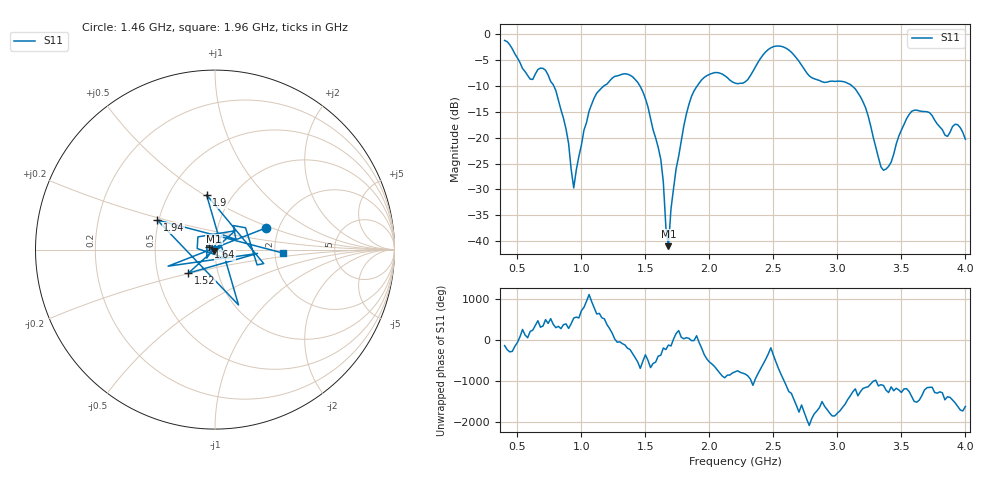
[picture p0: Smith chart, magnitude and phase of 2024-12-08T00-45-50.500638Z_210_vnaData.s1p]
!Created with skrf (http://scikit-rf.org).
# Hz S RI R 50.0
!freq ReS11 ImS11
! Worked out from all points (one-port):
!   181 points, 400 MHz to 4 GHz, reference 50 ohm
!   lowest |S11| = -41.0 dB at 1.68 GHz (marker M1), VSWR 1.02, Z = 49.4 - j0.701 ohm
!   |S11| at or under -10 dB: 783.7 MHz to 1.177 GHz (393.8 MHz wide, 40.2 % of centre); 1.457 GHz to 1.906 GHz (449.2 MHz wide, 26.7 % of centre); 3.113 GHz to end of sweep
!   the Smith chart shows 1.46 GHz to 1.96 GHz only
!   S11 on the Smith chart (normalised r, x): 1.46 GHz: 1.72, +0.46; 1.52 GHz: 0.72, -0.20; 1.64 GHz: 0.93, +0.02; 1.9 GHz: 0.76, +0.51; 1.94 GHz: 0.49, +0.19; 1.96 GHz: 2.23, -0.10
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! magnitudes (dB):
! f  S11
! 400 MHz  -1.3
! 600 MHz  -8.7
! 720 MHz  -7.0
! 860 MHz  -16.3
! 940 MHz  -29.7
! 1.02 GHz  -18.6
! 1.1 GHz  -12.3
! 1.3 GHz  -7.9
! 1.46 GHz  -10.1
! 1.52 GHz  -14.1
! 1.64 GHz  -28.6
! 1.66 GHz  -37.3
! 1.68 GHz  -41.0
! 1.7 GHz  -33.7
! 1.76 GHz  -23.6
! 1.82 GHz  -15.5
! 1.9 GHz  -10.2
! 1.94 GHz  -8.8
! 1.96 GHz  -8.4
! 2.2 GHz  -9.5
! 2.48 GHz  -2.7
! 2.66 GHz  -4.1
! 2.8 GHz  -8.4
! 3.1 GHz  -9.7
! 3.22 GHz  -14.2
! 3.36 GHz  -26.3
! 3.56 GHz  -15.6
! 4 GHz  -20.3
